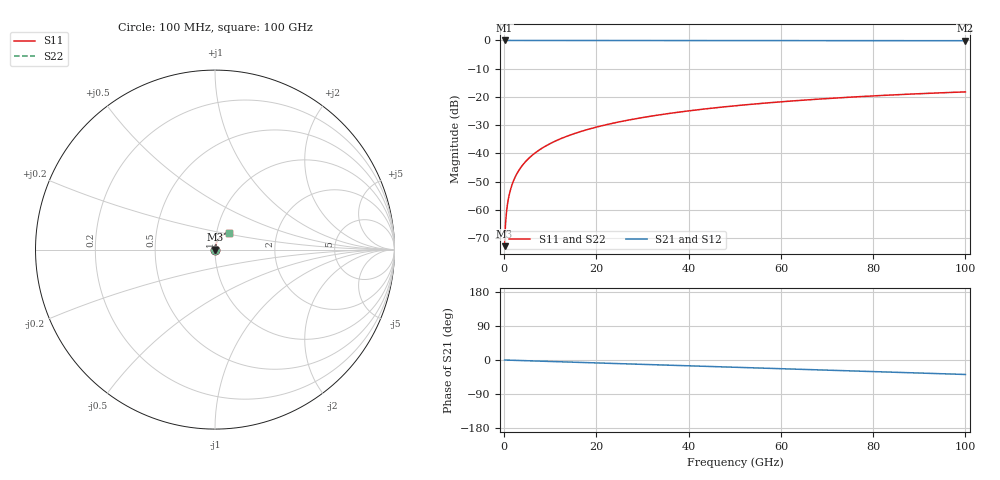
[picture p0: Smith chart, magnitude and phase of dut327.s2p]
! Touchstone file exported from HFSS 2026.1.0
!  File:  C:/ffzhzh/LocalFiles/Ansys_Project_Files/temp_train_TSV_327_1783509598_44152.aedt
!  Generated:  07:21:14 PM Jul  8, 2026
!  Design:  TSV
!  Project:  temp_train_TSV_327_1783509598_44152
! Variables:
!  h_bsmrdl = 2um
!  h_ox = 20um
!  h_rdl = 5um
!  h_sub = 72.39um
!  h_tmrdl = 5um
!  h_tsv = 72.39um
!  h_via = 3um
!  l_bsmrdl = 300um
!  l_sub = 418.34um
!  l_tmrdl = 200um
!  m_sub = 200um
!  pitch = 48.04um
!  r_tsv = 9.17um
!  s_tmrdl = 10um
!  w_bsmrdl = 18um
!  w_sub = 500um
!  w_tmrdl = 12um
!  x_tsv_center1 = 206um
!  x_tsv_center2 = 524um
!  x_tsv_center3 = 736um
!  x_tsv_center4 = 1054um
!  x_tsv_center5 = 1266um
!  x_tsv_center6 = 1584um
# GHz S MA R 50.000000
! Terminal data exported
! Port[1] = TSV1_1_T1
! Port[2] = TSV1_1_T2
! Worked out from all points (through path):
!   1000 points, 100 MHz to 100 GHz, reference 50 ohm
!   highest |S21| = 0.00 dB at 100 MHz (marker M1); lowest = -0.1 dB at 100 GHz (marker M2)
!   group delay of S21, straight-line fit = 1.06 ps
!   lowest |S11| = -72.8 dB at 100 MHz (marker M3), VSWR 1.00, Z = 50 + j0.0185 ohm
!   |S11| at or under -10 dB: start of sweep to end of sweep
!   |S22| runs from -72.8 to -18.2 dB; largest |S21 - S12| = 6.4e-15
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0.1  0.0002279 54.3  0.9999 -0.0  0.9999 -0.0  0.0002279 54.3
! Gamma 0 0 0 0
! Port Impedance 50 0 50 0
0.3  0.0005667 73.4  0.9998 -0.1  0.9998 -0.1  0.0005667 73.4
0.7  0.001225 78.8  0.9998 -0.3  0.9998 -0.3  0.001225 78.8
0.8  0.001383 79.4  0.9998 -0.3  0.9998 -0.3  0.001383 79.4
1  0.001696 80.3  0.9997 -0.4  0.9997 -0.4  0.001696 80.3
1.3  0.00216 81.2  0.9997 -0.5  0.9997 -0.5  0.00216 81.2
1.7  0.002774 82.0  0.9996 -0.7  0.9996 -0.7  0.002774 82.0
2.3  0.003684 82.7  0.9996 -0.9  0.9996 -0.9  0.003684 82.7
3  0.004732 83.1  0.9995 -1.2  0.9995 -1.2  0.004732 83.1
3.8  0.005917 83.3  0.9994 -1.5  0.9994 -1.5  0.005917 83.3
4.8  0.007388 83.5  0.9994 -1.9  0.9994 -1.9  0.007388 83.5
6  0.009145 83.5  0.9993 -2.3  0.9993 -2.3  0.009145 83.5
8.8  0.01322 83.1  0.9991 -3.4  0.9991 -3.4  0.01322 83.1
12.4  0.01841 82.2  0.9989 -4.8  0.9989 -4.8  0.01841 82.1
16.8  0.02469 80.9  0.9986 -6.5  0.9986 -6.5  0.02469 80.9
24.2  0.03511 78.5  0.998 -9.3  0.998 -9.3  0.03511 78.5
33.4  0.04779 75.3  0.9972 -12.8  0.9972 -12.8  0.04779 75.3
41.2  0.05823 72.5  0.9965 -15.8  0.9965 -15.8  0.05823 72.5
50.1  0.06974 69.2  0.9956 -19.2  0.9956 -19.2  0.06974 69.2
66.7  0.08981 63.1  0.9937 -25.5  0.9937 -25.5  0.08981 63.1
83.4  0.1077 56.9  0.9916 -31.9  0.9916 -31.9  0.1077 56.9
100  0.1228 50.7  0.9896 -38.2  0.9896 -38.2  0.1228 50.7
